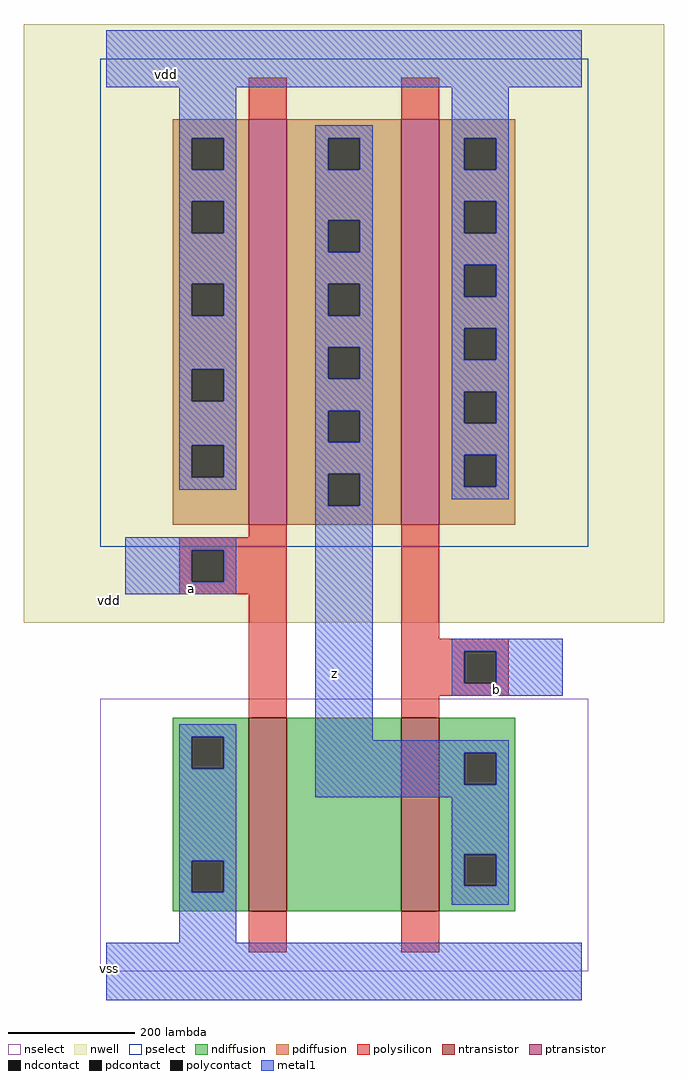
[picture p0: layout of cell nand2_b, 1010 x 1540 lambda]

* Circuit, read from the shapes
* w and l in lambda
.subckt nand2_b z a b vdd vss
M1 n1 a vss VSUBS nfet w=305 l=60
M2 z b n1 VSUBS nfet w=305 l=60
M3 z a vdd vdd pfet w=640 l=60
M4 vdd b z vdd pfet w=640 l=60
.ends

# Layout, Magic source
magic
tech amic5n
<< nwell >>
rect -130 550 880 1495
<< ntransistor >>
rect 225 95 285 400
rect 465 95 525 400
<< ptransistor >>
rect 225 705 285 1345
rect 465 705 525 1345
<< nselect >>
rect -10 0 760 430
<< pselect >>
rect -10 670 760 1440
<< ndiffusion >>
rect 105 370 225 400
rect 105 320 135 370
rect 185 320 225 370
rect 105 175 225 320
rect 105 125 135 175
rect 185 125 225 175
rect 105 95 225 125
rect 285 95 465 400
rect 525 345 645 400
rect 525 295 565 345
rect 615 295 645 345
rect 525 185 645 295
rect 525 135 565 185
rect 615 135 645 185
rect 525 95 645 135
<< pdiffusion >>
rect 105 1315 225 1345
rect 105 1265 135 1315
rect 185 1265 225 1315
rect 105 1215 225 1265
rect 105 1165 135 1215
rect 185 1165 225 1215
rect 105 1085 225 1165
rect 105 1035 135 1085
rect 185 1035 225 1085
rect 105 950 225 1035
rect 105 900 135 950
rect 185 900 225 950
rect 105 830 225 900
rect 105 780 135 830
rect 185 780 225 830
rect 105 705 225 780
rect 285 1315 465 1345
rect 285 1265 350 1315
rect 400 1265 465 1315
rect 285 1185 465 1265
rect 285 1135 350 1185
rect 400 1135 465 1185
rect 285 1085 465 1135
rect 285 1035 350 1085
rect 400 1035 465 1085
rect 285 985 465 1035
rect 285 935 350 985
rect 400 935 465 985
rect 285 885 465 935
rect 285 835 350 885
rect 400 835 465 885
rect 285 785 465 835
rect 285 735 350 785
rect 400 735 465 785
rect 285 705 465 735
rect 525 1315 645 1345
rect 525 1265 565 1315
rect 615 1265 645 1315
rect 525 1215 645 1265
rect 525 1165 565 1215
rect 615 1165 645 1215
rect 525 1115 645 1165
rect 525 1065 565 1115
rect 615 1065 645 1115
rect 525 1015 645 1065
rect 525 965 565 1015
rect 615 965 645 1015
rect 525 915 645 965
rect 525 865 565 915
rect 615 865 645 915
rect 525 815 645 865
rect 525 765 565 815
rect 615 765 645 815
rect 525 705 645 765
<< ndcontact >>
rect 135 320 185 370
rect 135 125 185 175
rect 565 295 615 345
rect 565 135 615 185
<< pdcontact >>
rect 135 1265 185 1315
rect 135 1165 185 1215
rect 135 1035 185 1085
rect 135 900 185 950
rect 135 780 185 830
rect 350 1265 400 1315
rect 350 1135 400 1185
rect 350 1035 400 1085
rect 350 935 400 985
rect 350 835 400 885
rect 350 735 400 785
rect 565 1265 615 1315
rect 565 1165 615 1215
rect 565 1065 615 1115
rect 565 965 615 1015
rect 565 865 615 915
rect 565 765 615 815
<< polysilicon >>
rect 225 1345 285 1410
rect 465 1345 525 1410
rect 225 685 285 705
rect 115 665 285 685
rect 115 615 135 665
rect 185 615 285 665
rect 115 595 285 615
rect 225 400 285 595
rect 465 525 525 705
rect 465 505 635 525
rect 465 455 565 505
rect 615 455 635 505
rect 465 435 635 455
rect 465 400 525 435
rect 225 30 285 95
rect 465 30 525 95
<< polycontact >>
rect 135 615 185 665
rect 565 455 615 505
<< metal1 >>
rect 0 1395 750 1485
rect 115 1315 205 1395
rect 115 1265 135 1315
rect 185 1265 205 1315
rect 115 1215 205 1265
rect 115 1165 135 1215
rect 185 1165 205 1215
rect 115 1085 205 1165
rect 115 1035 135 1085
rect 185 1035 205 1085
rect 115 950 205 1035
rect 115 900 135 950
rect 185 900 205 950
rect 115 830 205 900
rect 115 780 135 830
rect 185 780 205 830
rect 115 760 205 780
rect 330 1315 420 1335
rect 330 1265 350 1315
rect 400 1265 420 1315
rect 330 1185 420 1265
rect 330 1135 350 1185
rect 400 1135 420 1185
rect 330 1085 420 1135
rect 330 1035 350 1085
rect 400 1035 420 1085
rect 330 985 420 1035
rect 330 935 350 985
rect 400 935 420 985
rect 330 885 420 935
rect 330 835 350 885
rect 400 835 420 885
rect 330 785 420 835
rect 330 735 350 785
rect 400 735 420 785
rect 545 1315 635 1395
rect 545 1265 565 1315
rect 615 1265 635 1315
rect 545 1215 635 1265
rect 545 1165 565 1215
rect 615 1165 635 1215
rect 545 1115 635 1165
rect 545 1065 565 1115
rect 615 1065 635 1115
rect 545 1015 635 1065
rect 545 965 565 1015
rect 615 965 635 1015
rect 545 915 635 965
rect 545 865 565 915
rect 615 865 635 915
rect 545 815 635 865
rect 545 765 565 815
rect 615 765 635 815
rect 545 745 635 765
rect 30 665 205 685
rect 30 615 135 665
rect 185 615 205 665
rect 30 595 205 615
rect 115 370 205 390
rect 115 320 135 370
rect 185 320 205 370
rect 115 175 205 320
rect 330 365 420 735
rect 545 505 720 525
rect 545 455 565 505
rect 615 455 720 505
rect 545 435 720 455
rect 330 345 635 365
rect 330 295 565 345
rect 615 295 635 345
rect 330 275 635 295
rect 115 125 135 175
rect 185 125 205 175
rect 115 45 205 125
rect 545 185 635 275
rect 545 135 565 185
rect 615 135 635 185
rect 545 105 635 135
rect 0 -45 750 45
<< labels >>
flabel metal1 s 360 470 360 470 2 FreeSans 400 0 0 0 z
port 0 ne
flabel metal1 s 616 445 616 445 2 FreeSans 400 0 0 0 b
port 2 ne
flabel metal1 s 95 1415 95 1415 2 FreeSans 400 0 0 0 vdd
port 3 ne
flabel metal1 s 5 5 5 5 2 FreeSans 400 0 0 0 vss
port 4 ne
flabel nwell 5 585 5 585 2 FreeSans 400 0 0 0 vdd
flabel metal1 s 135 605 135 605 2 FreeSans 400 0 0 0 a
port 1 ne
<< properties >>
string LEFclass CORE
string LEFsite core
string FIXED_BBOX 0 0 750 1440
string LEFsymmetry X Y
<< end >>
